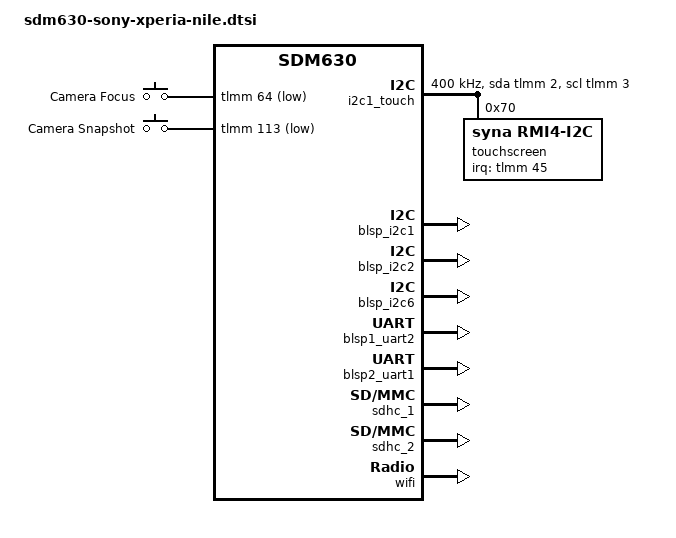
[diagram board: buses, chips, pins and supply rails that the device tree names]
// SPDX-License-Identifier: BSD-3-Clause
/*
 * Copyright (c) 2020, Konrad Dybcio
 */

/dts-v1/;

#include "sdm630.dtsi"
#include "pm660.dtsi"
#include "pm660l.dtsi"
#include <dt-bindings/gpio/gpio.h>
#include <dt-bindings/input/input.h>
#include <dt-bindings/input/gpio-keys.h>

/ {
	/* required for bootloader to select correct board */
	qcom,msm-id = <318 0>;
	qcom,board-id = <8 1>;
	qcom,pmic-id = <0x1001b 0x101011a 0x00 0x00 0x1001b 0x201011a 0x00 0x00>;

	/* This part enables graphical output via bootloader-enabled display */
	chosen {
		bootargs = "earlycon=tty0 console=tty0";

		#address-cells = <2>;
		#size-cells = <2>;
		ranges;

		stdout-path = "framebuffer0";

		framebuffer0: framebuffer@9d400000 {
			compatible = "simple-framebuffer";
			reg = <0 0x9d400000 0 (1920 * 1080 * 4)>;
			width = <1080>;
			height = <1920>;
			stride = <(1080 * 4)>;
			format = "a8r8g8b8";
			status= "okay";
		};
	};

	gpio_keys {
		status = "okay";
		compatible = "gpio-keys";
		input-name = "gpio-keys";
		#address-cells = <1>;
		#size-cells = <0>;
		autorepeat;

		camera_focus {
			label = "Camera Focus";
			gpios = <&tlmm 64 GPIO_ACTIVE_LOW>;
			linux,input-type = <1>;
			linux,code = <KEY_CAMERA_FOCUS>;
			debounce-interval = <15>;
		};

		camera_snapshot {
			label = "Camera Snapshot";
			gpios = <&tlmm 113 GPIO_ACTIVE_LOW>;
			linux,input-type = <1>;
			linux,code = <KEY_CAMERA>;
			debounce-interval = <15>;
		};

		/* Nile also uses gpio-keys for
		 * Volume Down,  but currently there's an
		 * issue with it that has to be resolved.
		 * Until then, let's not make the kernel panic
		 */
	};

	reserved-memory {
		#address-cells = <2>;
		#size-cells = <2>;
		ranges;

		ramoops@ffc00000 {
			compatible = "ramoops";
			reg = <0x0 0xffc00000 0x0 0x100000>;
			record-size = <0x10000>;
			console-size = <0x60000>;
			ftrace-size = <0x10000>;
			pmsg-size = <0x20000>;
			ecc-size = <16>;
			status = "okay";
		};

		debug_region@ffb00000 {
			reg = <0x00 0xffb00000 0x00 0x100000>;
			no-map;
		};

		removed_region@85800000 {
			reg = <0x00 0x85800000 0x00 0x3700000>;
			no-map;
		};
	};

	/* This is not exactly pretty, but required for TS to work.. */

	i2c1_touch: i2c {
		compatible = "i2c-gpio";
		status = "okay";

		sda-gpios = <&tlmm 2 (GPIO_ACTIVE_HIGH|GPIO_OPEN_DRAIN)>;
		scl-gpios = <&tlmm 3 (GPIO_ACTIVE_HIGH|GPIO_OPEN_DRAIN)>;

		#address-cells = <1>;
		#size-cells = <0>;
		clock-frequency = <400000>;

		pinctrl-names = "default";
		pinctrl-0 = <&i2c1_default>;

		touchscreen: synaptics-rmi4-i2c@70 {
			compatible = "syna,rmi4-i2c";
			reg = <0x70>;
			#address-cells = <1>;
			#size-cells = <0>;
			interrupts-extended = <&tlmm 45 0x2008>;

			pinctrl-names = "default";
			pinctrl-0 = <&ts_int_active &ts_lcd_id_active>;

			syna,reset-delay-ms = <200>;
			syna,startup-delay-ms = <220>;

			rmi4-f01@1 {
				reg = <0x01>;
				syna,nosleep-mode = <1>;
			};

			rmi4-f11@11 {
				reg = <0x11>;
				syna,sensor-type = <1>;
			};
		};
	};
};

&blsp_i2c1 {
	status = "okay";

	/* Synaptics touchscreen - see above */
};

&blsp_i2c2 {
	status = "okay";

	/* SMB1351 charger */
};

/* I2C3, 4, 5, 7 and 8 are disabled on this board. */

&blsp_i2c6 {
	status = "okay";

	/* NXP NFC */
};

&blsp1_uart2 {
	status = "okay";
};

&blsp2_uart1 {
	status = "okay";
};

&pon {
	volup {
		compatible = "qcom,pm8941-resin";
		interrupts = <0x0 0x8 1 IRQ_TYPE_EDGE_BOTH>;
		debounce = <15625>;
		bias-pull-up;
		linux,code = <KEY_VOLUMEUP>;
	};
};

&sdhc_1 {
	status = "okay";

	mmc-ddr-1_8v;
	/* SoMC Nile platform's eMMC doesn't support HS200 mode */
	mmc-hs400-1_8v;
};

&sdhc_2 {
	status = "okay";
};

&wifi {
	status = "okay";
	/*
	vdd-0.8-cx-mx-supply = <&pm660_l5>;
	vdd-1.8-xo-supply = <&pm660_l9_pin_ctrl>;
	vdd-1.3-rfa-supply = <&pm660_l6_pin_ctrl>;
	vdd-3.3-ch0-supply = <&pm660_l19_pin_ctrl>;
	*/
};

&tlmm {
	gpio-reserved-ranges = <8 4>;

	ts_int_active: ts-int-active {
		pins = "gpio45";
		drive-strength = <8>;
		bias-pull-up;
	};

	ts_lcd_id_active: ts-lcd-id-active {
		pins = "gpio56";
		drive-strength = <8>;
		bias-disable;
	};
};
